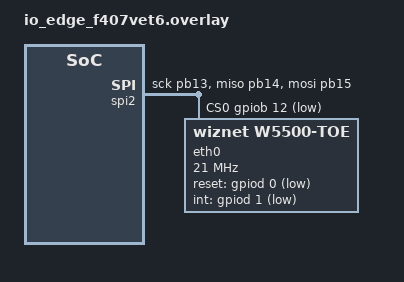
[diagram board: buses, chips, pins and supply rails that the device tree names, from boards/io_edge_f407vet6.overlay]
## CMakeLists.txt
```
# SPDX-License-Identifier: Apache-2.0

cmake_minimum_required(VERSION 3.20.0)

find_package(Zephyr REQUIRED HINTS $ENV{ZEPHYR_BASE})

project(w5500_toe_echo)

target_sources(app PRIVATE src/main.c)
```

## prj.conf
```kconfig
CONFIG_LOG=y

CONFIG_POSIX_API=y
CONFIG_NETWORKING=y
CONFIG_NET_NATIVE=n
CONFIG_W5500_TOE=y

CONFIG_MAIN_STACK_SIZE=4096
```

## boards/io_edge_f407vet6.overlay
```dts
/* W5500 TOE example: SPI2 (SCK=PB13, MISO=PB14, MOSI=PB15, CS=PB12),
 * RST=PD0, INT=PD1 (active low: drives microsecond readiness wakeups,
 * listener promotion/re-arm and blocked-op wakeups; falls back to the
 * 4 ms poll when absent). */

&spi2 {
	pinctrl-0 = <&spi2_sck_pb13 &spi2_miso_pb14 &spi2_mosi_pb15>;
	pinctrl-names = "default";
	cs-gpios = <&gpiob 12 (GPIO_ACTIVE_LOW | GPIO_PULL_UP)>;
	status = "okay";

	eth0: w5500@0 {
		compatible = "wiznet,w5500-toe";
		reg = <0>;
		spi-max-frequency = <21000000>;
		reset-gpios = <&gpiod 0 GPIO_ACTIVE_LOW>;
		int-gpios = <&gpiod 1 (GPIO_ACTIVE_LOW | GPIO_PULL_UP)>;
		local-mac-address = [00 08 DC 01 02 03];
		local-ip = "192.168.12.200";
		netmask = "255.255.255.0";
		gateway = "192.168.12.1";
		status = "okay";
	};
};
```

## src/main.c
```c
/*
 * W5500 hardware TCP/IP offload (TOE) echo example.
 *
 * The chip's on-chip stack does all the protocol work; this app only opens
 * sockets (plain POSIX API). Static IPv4 comes from the devicetree node
 * (local-ip / netmask / gateway in boards/io_edge_f407vet6.overlay). From
 * the development machine:
 *
 *   ping 192.168.12.200          (ICMP handled inside the W5500)
 *   nc 192.168.12.200 4242       (TCP echo, one client at a time)
 *
 * Connection teardown is RST-based (Sn_CR=CLOSE): reconnecting right after a
 * dropped session always works — no TIME_WAIT, on purpose.
 */

#include <zephyr/kernel.h>
#include <zephyr/logging/log.h>

#include <zephyr/posix/sys/socket.h>
#include <zephyr/posix/unistd.h>
#include <arpa/inet.h>
#include <errno.h>

LOG_MODULE_REGISTER(w5500_toe_echo, LOG_LEVEL_INF);

#define ECHO_PORT 4242

int main(void)
{
	struct sockaddr_in addr = {
		.sin_family = AF_INET,
		.sin_port = htons(ECHO_PORT),
		.sin_addr = { .s_addr = htonl(INADDR_ANY) },
	};
	uint8_t buf[512];
	int srv;
	int ret;

	k_sleep(K_SECONDS(1));

	srv = socket(AF_INET, SOCK_STREAM, IPPROTO_TCP);
	if (srv < 0) {
		LOG_ERR("socket() failed: %d", errno);
		return -1;
	}

	ret = bind(srv, (struct sockaddr *)&addr, sizeof(addr));
	if (ret < 0) {
		LOG_ERR("bind() failed: %d", errno);
		return -1;
	}

	ret = listen(srv, 1);
	if (ret < 0) {
		LOG_ERR("listen() failed: %d", errno);
		return -1;
	}

	LOG_INF("TCP echo server on port %d (W5500 TOE)", ECHO_PORT);

	while (true) {
		struct sockaddr_in peer = { 0 };
		socklen_t peer_len = sizeof(peer);
		int conn = accept(srv, (struct sockaddr *)&peer, &peer_len);
		char ip[16];
		int n;

		if (conn < 0) {
			LOG_WRN("accept() failed: %d", errno);
			k_sleep(K_MSEC(100));
			continue;
		}

		inet_ntop(AF_INET, &peer.sin_addr, ip, sizeof(ip));
		LOG_DBG("connected: %s:%u", ip, ntohs(peer.sin_port));

		while ((n = recv(conn, buf, sizeof(buf), 0)) > 0) {
			int off = 0;

			while (off < n) {
				int m = send(conn, buf + off, n - off, 0);

				if (m < 0) {
					off = -1;
					break;
				}
				off += m;
			}
			if (off < 0) {
				break;
			}
		}

		LOG_DBG("peer gone (recv=%d errno=%d), closing", n, n < 0 ? errno : 0);
		close(conn); /* hard close: instantly re-accept the next client */
	}

	return 0;
}
```
